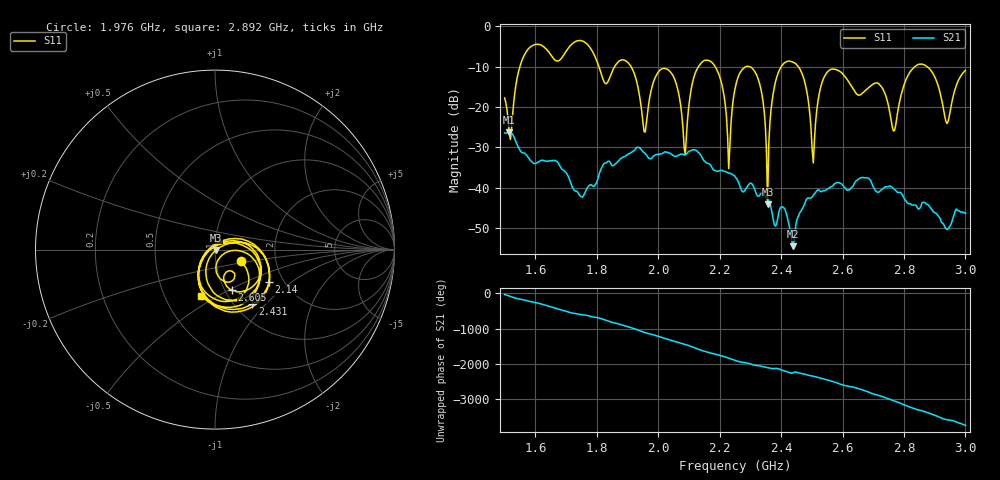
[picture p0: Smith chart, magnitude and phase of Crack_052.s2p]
# HZ S RI R 50
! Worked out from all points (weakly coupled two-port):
!   404 points, 1.5 GHz to 3 GHz, reference 50 ohm
!   highest |S21| = -26.25 dB at 1.515 GHz (marker M1); lowest = -54.5 dB at 2.438 GHz (marker M2)
!   lowest |S11| = -44.2 dB at 2.356 GHz (marker M3), VSWR 1.01, Z = 50.6 - j0.225 ohm
!   |S11| at or under -10 dB: 1.912 GHz to 2.131 GHz (219.6 MHz wide, 10.9 % of centre); 2.456 GHz to 2.835 GHz (379.1 MHz wide, 14.3 % of centre); 2.875 GHz to end of sweep (the widest 3 of 7)
!   S12 and S22 are empty: the file has one direction only
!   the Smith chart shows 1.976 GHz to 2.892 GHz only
!   S11 on the Smith chart (normalised r, x): 1.976 GHz: 1.32, -0.18; 2.14 GHz: 1.68, -0.70; 2.431 GHz: 1.20, -0.85; 2.605 GHz: 1.08, -0.52; 2.892 GHz: 0.76, -0.42
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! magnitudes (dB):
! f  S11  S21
! 1.5 GHz  -17.8  -26.5
! 1.515 GHz  -26.0  -26.2
! 1.578 GHz  -5.5  -32.7
! 1.753 GHz  -3.6  -42.4
! 1.954 GHz  -26.1  -31.4
! 1.976 GHz  -16.1  -32.9
! 2.002 GHz  -11.1  -31.8
! 2.088 GHz  -31.8  -31.9
! 2.14 GHz  -9.1  -32.2
! 2.23 GHz  -35.3  -36.4
! 2.252 GHz  -14.9  -37.5
! 2.319 GHz  -11.8  -41.5
! 2.356 GHz  -44.2  -42.9
! 2.431 GHz  -8.7  -50.9
! 2.438 GHz  -8.8  -54.5
! 2.501 GHz  -30.7  -42.4
! 2.542 GHz  -12.3  -40.8
! 2.605 GHz  -12.2  -39.8
! 2.751 GHz  -20.0  -39.7
! 2.892 GHz  -11.4  -45.5
! 2.94 GHz  -24.1  -50.4
! 3 GHz  -10.9  -46.5
